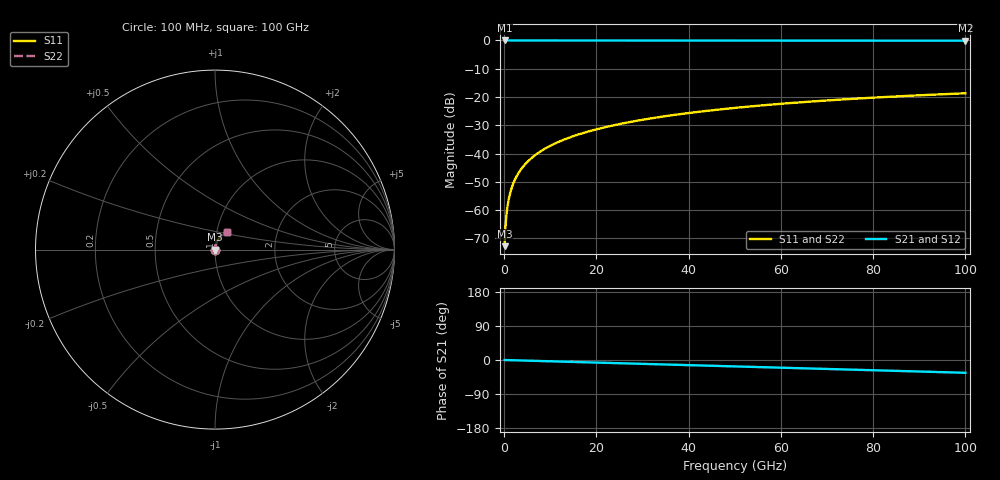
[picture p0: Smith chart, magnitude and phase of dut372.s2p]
! Touchstone file exported from HFSS 2026.1.0
!  File:  C:/ffzhzh/LocalFiles/Ansys_Project_Files/temp_train_TSV_372_1783510369_44152.aedt
!  Generated:  07:34:07 PM Jul  8, 2026
!  Design:  TSV
!  Project:  temp_train_TSV_372_1783510369_44152
! Variables:
!  h_bsmrdl = 2um
!  h_ox = 20um
!  h_rdl = 5um
!  h_sub = 63.75um
!  h_tmrdl = 5um
!  h_tsv = 63.75um
!  h_via = 3um
!  l_bsmrdl = 300um
!  l_sub = 415.72um
!  l_tmrdl = 200um
!  m_sub = 200um
!  pitch = 41.76um
!  r_tsv = 7.86um
!  s_tmrdl = 10um
!  w_bsmrdl = 18um
!  w_sub = 500um
!  w_tmrdl = 12um
!  x_tsv_center1 = 206um
!  x_tsv_center2 = 524um
!  x_tsv_center3 = 736um
!  x_tsv_center4 = 1054um
!  x_tsv_center5 = 1266um
!  x_tsv_center6 = 1584um
# GHz S MA R 50.000000
! Terminal data exported
! Port[1] = TSV1_1_T1
! Port[2] = TSV1_1_T2
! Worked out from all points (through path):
!   1000 points, 100 MHz to 100 GHz, reference 50 ohm
!   highest |S21| = 0.00 dB at 100 MHz (marker M1); lowest = -0.1 dB at 100 GHz (marker M2)
!   group delay of S21, straight-line fit = 937 fs
!   lowest |S11| = -72.8 dB at 100 MHz (marker M3), VSWR 1.00, Z = 50 + j0.0171 ohm
!   |S11| at or under -10 dB: start of sweep to end of sweep
!   |S22| runs from -72.8 to -18.7 dB; largest |S21 - S12| = 2.3e-15
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0.1  0.0002304 47.9  0.9998 -0.0  0.9998 -0.0  0.0002304 47.9
! Gamma 0 0 0 0
! Port Impedance 50 0 50 0
0.4  0.0006814 73.0  0.9998 -0.1  0.9998 -0.1  0.0006814 73.0
0.7  0.001126 77.6  0.9998 -0.2  0.9998 -0.2  0.001126 77.6
0.8  0.001272 78.4  0.9997 -0.3  0.9997 -0.3  0.001272 78.4
1.1  0.001708 80.1  0.9997 -0.4  0.9997 -0.4  0.001708 80.1
1.4  0.002141 81.0  0.9997 -0.5  0.9997 -0.5  0.002141 81.0
1.9  0.002851 81.8  0.9996 -0.7  0.9996 -0.7  0.002851 81.8
2.4  0.003548 82.3  0.9996 -0.8  0.9996 -0.8  0.003548 82.3
3  0.004372 82.6  0.9995 -1.0  0.9995 -1.0  0.004372 82.6
3.8  0.005457 82.9  0.9994 -1.3  0.9994 -1.3  0.005457 82.9
4.8  0.006803 83.2  0.9994 -1.7  0.9994 -1.7  0.006803 83.2
6  0.008411 83.3  0.9993 -2.1  0.9993 -2.1  0.008411 83.3
8.8  0.01214 83.1  0.9991 -3.0  0.9991 -3.0  0.01214 83.1
12.4  0.01689 82.4  0.9989 -4.2  0.9989 -4.2  0.01689 82.4
16.8  0.02264 81.3  0.9986 -5.7  0.9986 -5.7  0.02264 81.3
24.2  0.0322 79.3  0.9981 -8.2  0.9981 -8.2  0.0322 79.3
33.4  0.04388 76.5  0.9974 -11.3  0.9974 -11.3  0.04388 76.5
41.2  0.05355 74.1  0.9967 -14.0  0.9967 -14.0  0.05355 74.1
50.1  0.06429 71.3  0.9959 -17.0  0.9959 -17.0  0.06429 71.3
66.7  0.08333 65.9  0.9942 -22.6  0.9942 -22.6  0.08333 65.9
83.4  0.1009 60.4  0.9923 -28.2  0.9923 -28.2  0.1009 60.5
100  0.1163 55.0  0.9904 -33.8  0.9904 -33.8  0.1163 55.0
